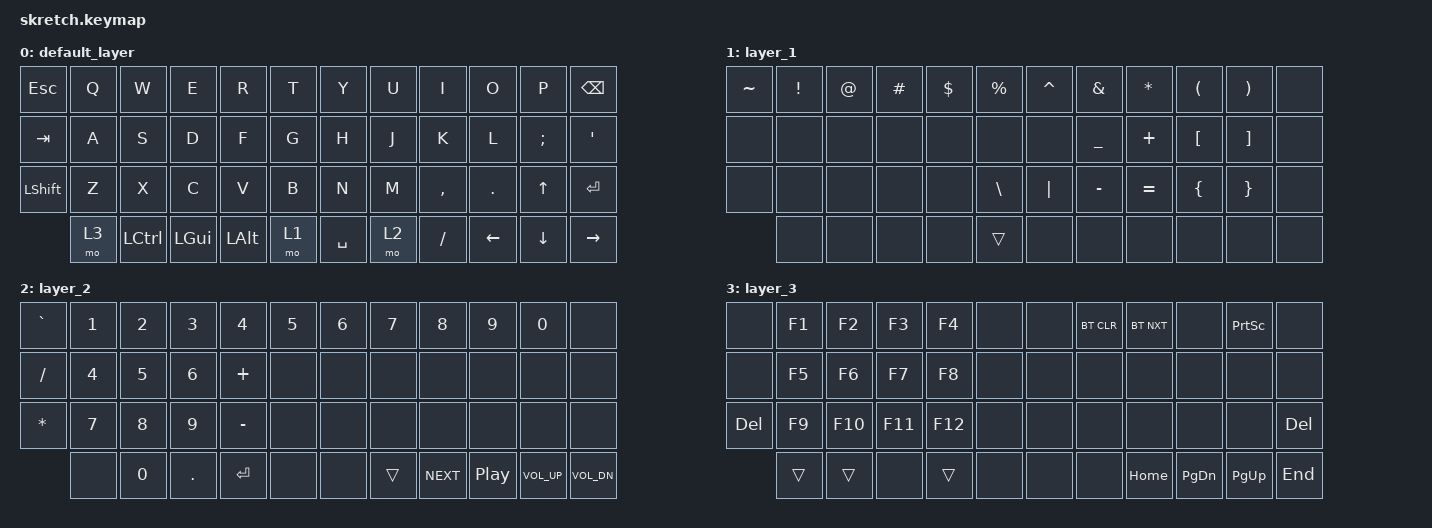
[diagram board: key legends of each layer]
#include <behaviors.dtsi>
#include <dt-bindings/zmk/keys.h>
#include <dt-bindings/zmk/bt.h>

/ {
    keymap {
        compatible = "zmk,keymap";

        default_layer {
            bindings = <
  &kp ESC  &kp Q      &kp W     &kp E     &kp R  &kp T      &kp Y  &kp U      &kp I     &kp O     &kp P   &kp BSPC
  &kp TAB  &kp A      &kp S     &kp D     &kp F  &kp G      &kp H  &kp J      &kp K     &kp L  &kp SEMI    &kp SQT
&kp LSHFT  &kp Z      &kp X     &kp C     &kp V  &kp B      &kp N  &kp M  &kp COMMA   &kp DOT    &kp UP    &kp RET
           &mo 3  &kp LCTRL  &kp LGUI  &kp LALT  &mo 1  &kp SPACE  &mo 2   &kp FSLH  &kp LEFT  &kp DOWN  &kp RIGHT
            >;
        };

        layer_1 {
            bindings = <
&kp TILDE  &kp EXCL  &kp AT  &kp HASH  &kp DLLR  &kp PRCNT  &kp CARET   &kp AMPS   &kp STAR  &kp LPAR  &kp RPAR  &none
    &none     &none   &none     &none     &none      &none      &none  &kp UNDER   &kp PLUS  &kp LBKT  &kp RBKT  &none
    &none     &none   &none     &none     &none   &kp BSLH   &kp PIPE  &kp MINUS  &kp EQUAL  &kp LBRC  &kp RBRC  &none
              &none   &none     &none     &none     &trans      &none      &none      &none     &none     &none  &none
            >;
        };

        layer_2 {
            bindings = <
&kp GRAVE  &kp N1  &kp N2   &kp N3     &kp N4  &kp N5  &kp N6  &kp N7      &kp N8    &kp N9        &kp N0         &none
&kp SLASH  &kp N4  &kp N5   &kp N6   &kp PLUS   &none   &none   &none       &none     &none         &none         &none
 &kp STAR  &kp N7  &kp N8   &kp N9  &kp MINUS   &none   &none   &none       &none     &none         &none         &none
            &none  &kp N0  &kp DOT  &kp ENTER   &none   &none  &trans  &kp C_NEXT  &kp C_PP  &kp C_VOL_UP  &kp C_VOL_DN
            >;
        };

        layer_3 {
            bindings = <
  &none  &kp F1   &kp F2   &kp F3   &kp F4  &none  &none  &bt BT_CLR  &bt BT_NXT      &none  &kp PSCRN    &none
  &none  &kp F5   &kp F6   &kp F7   &kp F8  &none  &none       &none       &none      &none      &none    &none
&kp DEL  &kp F9  &kp F10  &kp F11  &kp F12  &none  &none       &none       &none      &none      &none  &kp DEL
         &trans   &trans    &none   &trans  &none  &none       &none    &kp HOME  &kp PG_DN  &kp PG_UP  &kp END
            >;
        };
    };
};
